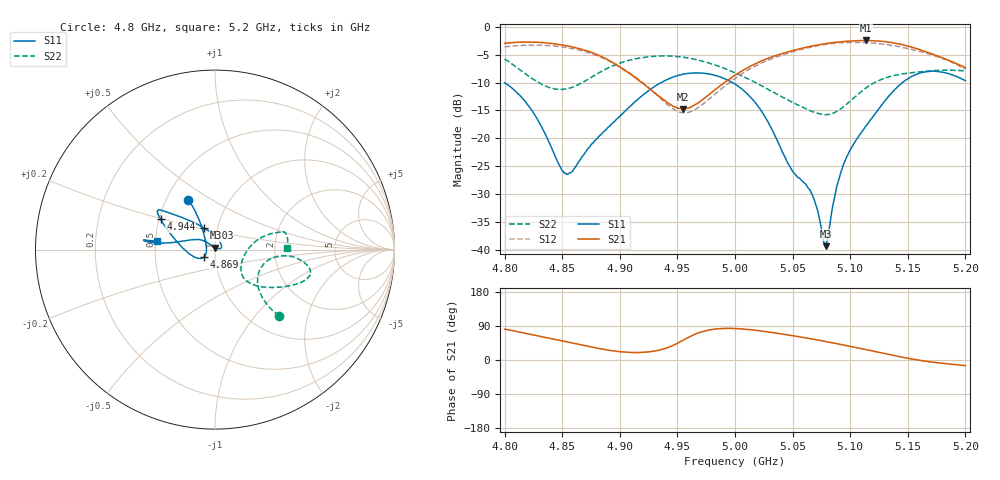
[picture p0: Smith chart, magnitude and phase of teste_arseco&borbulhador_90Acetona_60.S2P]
! Network Analyzer HP8722D
! Hewlett-Packard
! Data name: Linha & Wilkinson
! Saver's name: Rodrigo Anjos
! Comments: Teste da utilização de aquisição
! continua pelo VNA HP8722D
! Time and date: 17/4/2025 11:33
!  Frequency  S11  S21  S12  S22
# HZ  S  MA R 50
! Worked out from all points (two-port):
!   401 points, 4.8 GHz to 5.2 GHz, reference 50 ohm
!   highest |S21| = -2.45 dB at 5.114 GHz (marker M1); lowest = -14.7 dB at 4.955 GHz (marker M2)
!   |S21| within 3 dB of the highest: start of sweep to 4.885 GHz; 5.032 GHz to 5.178 GHz (146.9 MHz wide, 2.88 % of centre)
!   lowest |S11| = -39.3 dB at 5.079 GHz (marker M3), VSWR 1.02, Z = 50.3 + j1.05 ohm
!   |S11| at or under -10 dB: start of sweep to 4.936 GHz; 4.998 GHz to 5.145 GHz (147.6 MHz wide, 2.91 % of centre)
!   |S22| runs from -15.8 to -5.2 dB; largest |S21 - S12| = 1
!   S11 on the Smith chart (normalised r, x): 4.8 GHz: 0.65, +0.40; 4.869 GHz: 0.89, -0.07; 4.944 GHz: 0.51, +0.20; 5.03 GHz: 0.87, +0.21; 5.2 GHz: 0.51, +0.05
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4.8e9  0.315 118.0  0.7116 81.2  0.6625 -12.7  0.513 -45.8
4.824e9  0.176 118.6  0.7287 66.6  0.6857 -23.2  0.3428 -43.5
4.852e9  0.04874 168.7  0.6811 49.1  0.6553 -36.6  0.2762 -21.1
4.867e9  0.06784 -146.8  0.6281 39.6  0.6094 -44.3  0.3148 -9.4
4.869e9  0.072 -145.7  0.6201 38.3  0.6011 -45.5  0.3228 -8.4
4.903e9  0.1693 -179.9  0.4148 21.2  0.4216 -61.7  0.484 -7.1
4.934e9  0.3089 155.0  0.2382 25.8  0.235 -61.7  0.546 -13.2
4.944e9  0.3474 150.9  0.201 35.6  0.1906 -52.2  0.5473 -15.5
4.955e9  0.3762 148.0  0.1838 52.2  0.1695 -34.5  0.5345 -18.1
5e9  0.3067 139.9  0.3677 83.0  0.3446 5.3  0.3864 -33.0
5.016e9  0.2189 131.8  0.4567 79.1  0.4357 3.3  0.3226 -39.5
5.03e9  0.132 116.4  0.5281 73.4  0.5084 -0.4  0.2693 -43.8
5.048e9  0.05511 65.9  0.6039 65.1  0.5899 -7.2  0.2152 -44.0
5.067e9  0.03128 11.2  0.6745 55.4  0.6616 -16.1  0.1737 -34.0
5.077e9  0.01174 38.9  0.7031 49.6  0.6902 -21.8  0.1633 -22.0
5.079e9  0.01079 75.5  0.7059 48.5  0.6938 -23.0  0.1631 -18.9
5.087e9  0.03173 130.3  0.7259 43.7  0.7115 -27.8  0.1716 -6.4
5.093e9  0.05329 137.0  0.7361 40.3  0.718 -31.6  0.1871 2.0
5.114e9  0.1299 154.6  0.7545 27.2  0.7213 -44.9  0.2837 15.4
5.134e9  0.2419 170.6  0.7263 14.2  0.6863 -57.3  0.3571 15.3
5.164e9  0.3925 173.0  0.6069 -2.5  0.5881 -71.9  0.3988 14.2
5.2e9  0.3291 171.8  0.4308 -15.0  0.4165 -83.6  0.4012 0.9
